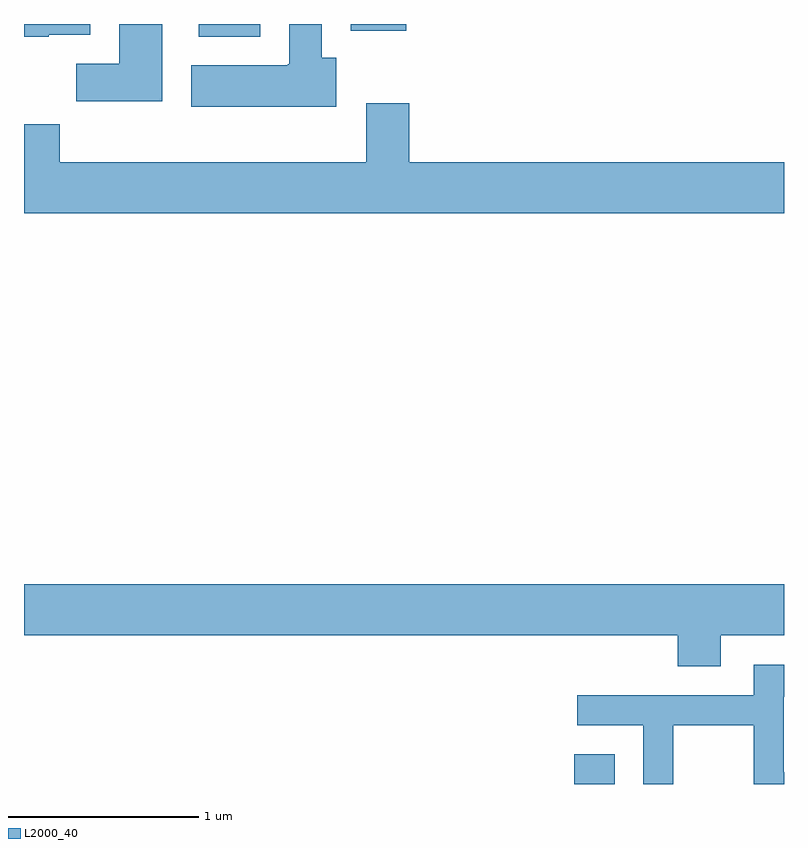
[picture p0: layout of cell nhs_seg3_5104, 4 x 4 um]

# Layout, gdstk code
import gdstk
lib = gdstk.Library(unit=1e-6, precision=1e-09)
def R(c, l, rs):  # rectangles x0, y0, x1, y1
    for r in rs: c.add(gdstk.rectangle(r[:2], r[2:], *l))
def P(c, l, *ps):  # polygons
    for p in ps: c.add(gdstk.Polygon(p, *l))
L2000_40 = (2000, 40)

nhs_seg3_5104 = lib.new_cell('nhs_seg3_5104')
R(nhs_seg3_5104, L2000_40, [(338.506,1131.892,338.719,1132.049), (336.531,1135.826,336.854,1135.892), (337.331,1135.856,337.624,1135.892)])
P(nhs_seg3_5104, L2000_40, [(337.254,1135.714),(337.179,1135.714),(337.179,1135.892),(337.006,1135.892),(337.006,1135.68),(337,1135.68),(337,1135.674),(336.491,1135.674),(336.491,1135.456),(337.254,1135.456)],
  [(335.74,1135.836),(335.959,1135.836),(335.959,1135.892),(335.611,1135.892),(335.611,1135.826),(335.74,1135.826)],
  [(336.339,1135.892),(336.111,1135.892),(336.111,1135.684),(335.886,1135.684),(335.886,1135.486),(336.339,1135.486)],
  [(339.611,1135.164),(337.639,1135.164),(337.639,1135.474),(337.411,1135.474),(337.411,1135.164),(335.799,1135.164),(335.799,1135.364),(335.611,1135.364),(335.611,1134.896),(339.611,1134.896)],
  [(339.279,1132.676),(339.611,1132.676),(339.611,1132.944),(335.611,1132.944),(335.611,1132.676),(339.051,1132.676),(339.051,1132.511),(339.279,1132.511)],
  [(339.029,1132.201),(339.451,1132.201),(339.451,1131.892),(339.611,1131.892),(339.611,1131.955),(339.609,1131.957),(339.609,1132.351),(339.611,1132.351),(339.611,1132.519),(339.451,1132.519),(339.451,1132.359),(338.523,1132.359),(338.523,1132.201),(338.871,1132.201),(338.871,1131.892),(339.029,1131.892)])

lib.write_gds('nhs_seg3_5104.gds')
